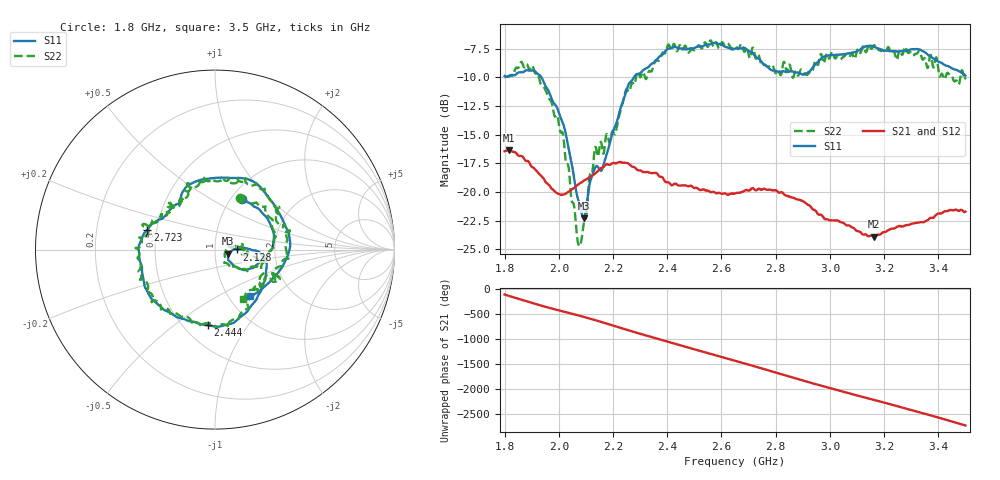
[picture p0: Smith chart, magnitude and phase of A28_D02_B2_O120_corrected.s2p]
! Created with skrf 1.9.0 (http://scikit-rf.org).
# Hz S RI R 50.0
!freq ReS11 ImS11 ReS21 ImS21 ReS12 ImS12 ReS22 ImS22
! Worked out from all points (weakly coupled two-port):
!   1601 points, 1.8 GHz to 3.5 GHz, reference 50 ohm
!   highest |S21| = -16.37 dB at 1.816 GHz (marker M1); lowest = -23.9 dB at 3.163 GHz (marker M2)
!   lowest |S11| = -22.3 dB at 2.091 GHz (marker M3), VSWR 1.17, Z = 57.9 - j2.64 ohm
!   |S11| at or under -10 dB: 1.936 GHz to 2.277 GHz (340.8 MHz wide, 16.2 % of centre)
!   |S22| runs from -24.7 to -6.8 dB; largest |S21 - S12| = 0.0026
!   S11 on the Smith chart (normalised r, x): 1.8 GHz: 1.12, +0.71; 2.128 GHz: 1.28, +0.00; 2.444 GHz: 0.65, -0.67; 2.723 GHz: 0.44, +0.12; 3.5 GHz: 1.26, -0.72
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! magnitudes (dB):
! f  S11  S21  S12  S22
! 1.8 GHz  -9.9  -16.4  -16.4  -10.0
! 1.816 GHz  -9.9  -16.4  -16.4  -9.9
! 1.902 GHz  -9.4  -17.8  -17.8  -9.0
! 1.968 GHz  -11.5  -19.5  -19.6  -12.0
! 2.021 GHz  -14.4  -20.2  -20.2  -16.2
! 2.071 GHz  -20.6  -19.3  -19.4  -24.4
! 2.084 GHz  -21.8  -19.2  -19.1  -24.1
! 2.091 GHz  -22.3  -19.0  -19.1  -22.9
! 2.128 GHz  -18.2  -18.5  -18.5  -17.2
! 2.162 GHz  -17.8  -17.9  -17.8  -16.5
! 2.209 GHz  -14.2  -17.5  -17.4  -14.9
! 2.26 GHz  -10.5  -17.6  -17.6  -11.2
! 2.367 GHz  -8.3  -18.5  -18.5  -8.5
! 2.444 GHz  -7.5  -19.4  -19.4  -7.3
! 2.65 GHz  -7.5  -20.1  -20.1  -7.3
! 2.723 GHz  -8.1  -19.8  -19.7  -8.1
! 2.812 GHz  -9.5  -20.0  -19.9  -9.4
! 2.934 GHz  -9.2  -21.4  -21.4  -9.6
! 3.163 GHz  -7.3  -23.9  -23.8  -7.2
! 3.217 GHz  -7.7  -23.3  -23.3  -7.4
! 3.33 GHz  -7.6  -22.6  -22.6  -7.7
! 3.5 GHz  -9.8  -21.7  -21.7  -10.0
